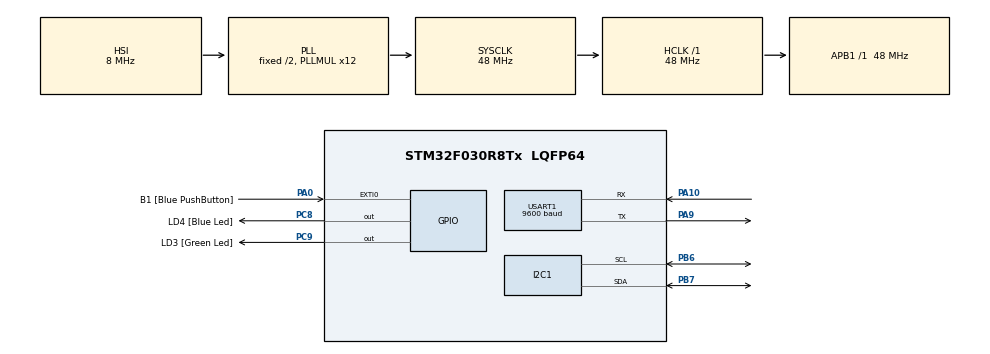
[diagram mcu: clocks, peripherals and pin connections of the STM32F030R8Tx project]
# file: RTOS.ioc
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FREERTOS.Tasks01=defaultTask,24,128,StartDefaultTask,Default,NULL,Dynamic,NULL,NULL
FREERTOS.configCHECK_FOR_STACK_OVERFLOW=1
FREERTOS.configTOTAL_HEAP_SIZE=1700
FREERTOS.configUSE_DAEMON_TASK_STARTUP_HOOK=1
FREERTOS.configUSE_IDLE_HOOK=1
FREERTOS.configUSE_MALLOC_FAILED_HOOK=0
FREERTOS.configUSE_TICK_HOOK=1
Mcu.Family=STM32F0
Mcu.Name=STM32F030R8Tx
Mcu.Package=LQFP64
NVIC.TIM6_IRQn=true\:0\:0\:false\:false\:true\:false\:false\:true
NVIC.TimeBase=TIM6_IRQn
NVIC.TimeBaseIP=TIM6
PA0.GPIO_Label=B1 [Blue PushButton]
PA0.GPIO_ModeDefaultEXTI=GPIO_MODE_EVT_RISING
PA0.Signal=GPXTI0
PA10.Mode=Asynchronous
PA10.Signal=USART1_RX
PA13.GPIO_Label=SWDIO
PA13.Mode=Serial_Wire
PA13.Signal=SYS_SWDIO
PA14.GPIO_Label=SWCLK
PA14.Mode=Serial_Wire
PA14.Signal=SYS_SWCLK
PA9.Mode=Asynchronous
PA9.Signal=USART1_TX
PB6.Mode=I2C
PB6.Signal=I2C1_SCL
PB7.Mode=I2C
PB7.Signal=I2C1_SDA
PC8.GPIO_Label=LD4 [Blue Led]
PC8.Signal=GPIO_Output
PC9.GPIO_Label=LD3 [Green Led]
PC9.Signal=GPIO_Output
ProjectManager.HeapSize=0x200
ProjectManager.StackSize=0x400
ProjectManager.TargetToolchain=Makefile
RCC.AHBFreq_Value=48000000
RCC.APB1Freq_Value=48000000
RCC.APB1TimFreq_Value=48000000
RCC.HCLKFreq_Value=48000000
RCC.PLLMUL=RCC_PLL_MUL12
RCC.SYSCLKFreq_VALUE=48000000
RCC.SYSCLKSource=RCC_SYSCLKSOURCE_PLLCLK
USART1.BaudRate=9600
USART1.VirtualMode-Asynchronous=VM_ASYNC
VP_FREERTOS_VS_CMSIS_V2.Mode=CMSIS_V2
VP_SYS_VS_tim6.Mode=TIM6
board=STM32F0308-DISCO

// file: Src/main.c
/* USER CODE BEGIN Header */
/**
  ******************************************************************************
  * @file           : main.c
  * @brief          : Main program body
  ******************************************************************************
  * @attention
  *
  * <h2><center>&copy; Copyright (c) 2019 STMicroelectronics.
  * All rights reserved.</center></h2>
  *
  * This software component is licensed by ST under Ultimate Liberty license
  * SLA0044, the "License"; You may not use this file except in compliance with
  * the License. You may obtain a copy of the License at:
  *                             www.st.com/SLA0044
  *
  ******************************************************************************
  */
/* USER CODE END Header */

#include "main.h"
#include "cmsis_os.h"

/* USER CODE BEGIN Includes */
#include "u8g2.h"
/* USER CODE END Includes */

I2C_HandleTypeDef hi2c1;

UART_HandleTypeDef huart1;

osThreadId_t defaultTaskHandle;
/* USER CODE BEGIN PV */
osThreadId_t displayTaskHandle;
u8g2_t u8g2;
/* USER CODE END PV */

void SystemClock_Config(void);
static void MX_GPIO_Init(void);
static void MX_I2C1_Init(void);
static void MX_USART1_UART_Init(void);
void StartDefaultTask(void *argument);

/* USER CODE BEGIN PFP */
void StartDisplayTask(void *argument);
/* external functions */
uint8_t u8x8_byte_stm32hal_hw_i2c(u8x8_t *u8x8, uint8_t msg, uint8_t arg_int, void *arg_ptr);
uint8_t psoc_gpio_and_delay_cb(u8x8_t *u8x8, uint8_t msg, uint8_t arg_int, void *arg_ptr);

/* USER CODE END PFP */

/* USER CODE BEGIN 0 */
// void HAL_Delay(uint32_t Delay){
//   //osDelay(Delay);
// }

void initDisplay(void)
{
  //uint8_t i = 0, j = 0, k = 0;

  /* setup display */
  u8g2_Setup_ssd1306_i2c_128x64_noname_f(&u8g2, U8G2_R0, u8x8_byte_stm32hal_hw_i2c, psoc_gpio_and_delay_cb);
  u8g2_InitDisplay(&u8g2);
  u8g2_SetPowerSave(&u8g2, 0);
  // u8g2_SetFont(&u8g2, u8g2_font_6x12_tf);
  // u8g2_ClearBuffer(&u8g2);
  // u8g2_DrawStr(&u8g2, 0,12, "STM32L031");
  // u8g2_DrawStr(&u8g2, 0,24, u8x8_u8toa(SystemCoreClock/1000000, 2));
  // u8g2_DrawStr(&u8g2, 20,24, "MHz");
  // u8g2_SendBuffer(&u8g2);
  // while(1)
  // {
  //   if(k%2)
  //     if(i<117)
  //       i++;
  //     else
  //       k++;
  //   else
  //     if(i>10)
  //       i--;
  //     else
  //       k--;

  //     // if(!(i%4))
  //     // {
  //     //   j += 1;
  //     // }
  //     //u8g2_ClearBuffer(&u8g2);
  //     u8g2_FirstPage(&u8g2);
  //     do
  //     {
  //       //u8g2_SetFont(&u8g2, u8g2_font_6x12_tf);
  //         //u8g2_SetFont(&u8g2, u8g2_font_ncenB14_tr);
  //       //u8g2_DrawStr(&u8g2, 0, 15, "Hello World!");
  //       u8g2_DrawCircle(&u8g2, i, 32, 10+j, U8G2_DRAW_ALL);
  //     } while (u8g2_NextPage(&u8g2));

  //   //i = 0; j = 0;
  // }
}
/* USER CODE END 0 */

int main(void)
{

  /* MCU Configuration--------------------------------------------------------*/

  /* Reset of all peripherals, Initializes the Flash interface and the Systick. */
  HAL_Init();

  /* Configure the system clock */
  SystemClock_Config();

  /* Initialize all configured peripherals */
  MX_GPIO_Init();
  MX_I2C1_Init();
  MX_USART1_UART_Init();
  /* USER CODE BEGIN 2 */
  initDisplay();

  /* USER CODE END 2 */

  osKernelInitialize();

  /* Create the thread(s) */
  /* definition and creation of defaultTask */
  const osThreadAttr_t defaultTask_attributes = {
    .name = "defaultTask",
    .priority = (osPriority_t) osPriorityNormal,
    .stack_size = 128
  };
  defaultTaskHandle = osThreadNew(StartDefaultTask, NULL, &defaultTask_attributes);

  /* USER CODE BEGIN RTOS_THREADS */
  const osThreadAttr_t displayTask_attributes = {
    .name = "displayTask",
    .priority = (osPriority_t) osPriorityNormal,
    .stack_size = 512
  };
  displayTaskHandle = osThreadNew(StartDisplayTask, NULL, &displayTask_attributes);

  /* add threads, ... */
  /* USER CODE END RTOS_THREADS */

  /* Start scheduler */
  osKernelStart();

  /* We should never get here as control is now taken by the scheduler */

  /* Infinite loop */
  while (1)
  {

  }
}

void SystemClock_Config(void)
{
  RCC_OscInitTypeDef RCC_OscInitStruct = {0};
  RCC_ClkInitTypeDef RCC_ClkInitStruct = {0};
  RCC_PeriphCLKInitTypeDef PeriphClkInit = {0};

  /** Initializes the CPU, AHB and APB busses clocks
  */
  RCC_OscInitStruct.OscillatorType = RCC_OSCILLATORTYPE_HSI;
  RCC_OscInitStruct.HSIState = RCC_HSI_ON;
  RCC_OscInitStruct.HSICalibrationValue = RCC_HSICALIBRATION_DEFAULT;
  RCC_OscInitStruct.PLL.PLLState = RCC_PLL_ON;
  RCC_OscInitStruct.PLL.PLLSource = RCC_PLLSOURCE_HSI;
  RCC_OscInitStruct.PLL.PLLMUL = RCC_PLL_MUL12;
  RCC_OscInitStruct.PLL.PREDIV = RCC_PREDIV_DIV1;
  if (HAL_RCC_OscConfig(&RCC_OscInitStruct) != HAL_OK)
  {
    Error_Handler();
  }
  /** Initializes the CPU, AHB and APB busses clocks
  */
  RCC_ClkInitStruct.ClockType = RCC_CLOCKTYPE_HCLK|RCC_CLOCKTYPE_SYSCLK
                              |RCC_CLOCKTYPE_PCLK1;
  RCC_ClkInitStruct.SYSCLKSource = RCC_SYSCLKSOURCE_PLLCLK;
  RCC_ClkInitStruct.AHBCLKDivider = RCC_SYSCLK_DIV1;
  RCC_ClkInitStruct.APB1CLKDivider = RCC_HCLK_DIV1;

  if (HAL_RCC_ClockConfig(&RCC_ClkInitStruct, FLASH_LATENCY_1) != HAL_OK)
  {
    Error_Handler();
  }
  PeriphClkInit.PeriphClockSelection = RCC_PERIPHCLK_USART1|RCC_PERIPHCLK_I2C1;
  PeriphClkInit.Usart1ClockSelection = RCC_USART1CLKSOURCE_PCLK1;
  PeriphClkInit.I2c1ClockSelection = RCC_I2C1CLKSOURCE_HSI;
  if (HAL_RCCEx_PeriphCLKConfig(&PeriphClkInit) != HAL_OK)
  {
    Error_Handler();
  }
}

static void MX_I2C1_Init(void)
{

  hi2c1.Instance = I2C1;
  hi2c1.Init.Timing = 0x2000090E;
  hi2c1.Init.OwnAddress1 = 0;
  hi2c1.Init.AddressingMode = I2C_ADDRESSINGMODE_7BIT;
  hi2c1.Init.DualAddressMode = I2C_DUALADDRESS_DISABLE;
  hi2c1.Init.OwnAddress2 = 0;
  hi2c1.Init.OwnAddress2Masks = I2C_OA2_NOMASK;
  hi2c1.Init.GeneralCallMode = I2C_GENERALCALL_DISABLE;
  hi2c1.Init.NoStretchMode = I2C_NOSTRETCH_DISABLE;
  if (HAL_I2C_Init(&hi2c1) != HAL_OK)
  {
    Error_Handler();
  }
  /** Configure Analogue filter
  */
  if (HAL_I2CEx_ConfigAnalogFilter(&hi2c1, I2C_ANALOGFILTER_ENABLE) != HAL_OK)
  {
    Error_Handler();
  }
  /** Configure Digital filter
  */
  if (HAL_I2CEx_ConfigDigitalFilter(&hi2c1, 0) != HAL_OK)
  {
    Error_Handler();
  }

}

static void MX_USART1_UART_Init(void)
{

  huart1.Instance = USART1;
  huart1.Init.BaudRate = 9600;
  huart1.Init.WordLength = UART_WORDLENGTH_8B;
  huart1.Init.StopBits = UART_STOPBITS_1;
  huart1.Init.Parity = UART_PARITY_NONE;
  huart1.Init.Mode = UART_MODE_TX_RX;
  huart1.Init.HwFlowCtl = UART_HWCONTROL_NONE;
  huart1.Init.OverSampling = UART_OVERSAMPLING_16;
  huart1.Init.OneBitSampling = UART_ONE_BIT_SAMPLE_DISABLE;
  huart1.AdvancedInit.AdvFeatureInit = UART_ADVFEATURE_NO_INIT;
  if (HAL_UART_Init(&huart1) != HAL_OK)
  {
    Error_Handler();
  }

}

static void MX_GPIO_Init(void)
{
  GPIO_InitTypeDef GPIO_InitStruct = {0};

  /* GPIO Ports Clock Enable */
  __HAL_RCC_GPIOA_CLK_ENABLE();
  __HAL_RCC_GPIOC_CLK_ENABLE();
  __HAL_RCC_GPIOB_CLK_ENABLE();

  /*Configure GPIO pin Output Level */
  HAL_GPIO_WritePin(GPIOC, LD4_Pin|LD3_Pin, GPIO_PIN_RESET);

  /*Configure GPIO pin : B1_Pin */
  GPIO_InitStruct.Pin = B1_Pin;
  GPIO_InitStruct.Mode = GPIO_MODE_EVT_RISING;
  GPIO_InitStruct.Pull = GPIO_NOPULL;
  HAL_GPIO_Init(B1_GPIO_Port, &GPIO_InitStruct);

  /*Configure GPIO pins : LD4_Pin LD3_Pin */
  GPIO_InitStruct.Pin = LD4_Pin|LD3_Pin;
  GPIO_InitStruct.Mode = GPIO_MODE_OUTPUT_PP;
  GPIO_InitStruct.Pull = GPIO_NOPULL;
  GPIO_InitStruct.Speed = GPIO_SPEED_FREQ_LOW;
  HAL_GPIO_Init(GPIOC, &GPIO_InitStruct);

}

/* USER CODE BEGIN 4 */
void StartDisplayTask(void *argument)
{
  uint8_t i = 0, j = 0, k = 0;

  /* Infinite loop */
  for(;;)
  {
    HAL_GPIO_TogglePin(GPIOC, LD4_Pin);
    //osDelay(100);

    if(k%2)
      if(i<117)
        i+=2;
      else
        k++;
    else
      if(i>10)
        i-=2;
      else
        k--;

    //u8g2_ClearBuffer(&u8g2);
    u8g2_FirstPage(&u8g2);
    do
    {
      //u8g2_SetFont(&u8g2, u8g2_font_6x12_tf);
      u8g2_SetFont(&u8g2, u8g2_font_ncenB14_tr);
      u8g2_DrawStr(&u8g2, 0, 15, "Hello World!");
      u8g2_DrawCircle(&u8g2, i, 32, 10+j, U8G2_DRAW_ALL);
    } while (u8g2_NextPage(&u8g2));
  }
}
/* USER CODE END 4 */

void StartDefaultTask(void *argument)
{
  /* USER CODE BEGIN 5 */
  /* Infinite loop */
  for(;;)
  {
     HAL_GPIO_TogglePin(GPIOC, LD3_Pin);
     osDelay(1000);
  }
  /* USER CODE END 5 */
}

void HAL_TIM_PeriodElapsedCallback(TIM_HandleTypeDef *htim)
{
  if (htim->Instance == TIM6) {
    HAL_IncTick();
  }
}

void Error_Handler(void)
{
}

/************************ (C) COPYRIGHT STMicroelectronics *****END OF FILE****/

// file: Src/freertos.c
/* USER CODE BEGIN Header */
/**
  ******************************************************************************
  * File Name          : freertos.c
  * Description        : Code for freertos applications
  ******************************************************************************
  * @attention
  *
  * <h2><center>&copy; Copyright (c) 2019 STMicroelectronics.
  * All rights reserved.</center></h2>
  *
  * This software component is licensed by ST under Ultimate Liberty license
  * SLA0044, the "License"; You may not use this file except in compliance with
  * the License. You may obtain a copy of the License at:
  *                             www.st.com/SLA0044
  *
  ******************************************************************************
  */
/* USER CODE END Header */

#include "FreeRTOS.h"
#include "task.h"
#include "main.h"

/* Hook prototypes */
void vApplicationIdleHook(void);
void vApplicationTickHook(void);
void vApplicationStackOverflowHook(xTaskHandle xTask, signed char *pcTaskName);
void vApplicationDaemonTaskStartupHook(void);

/* USER CODE BEGIN 2 */
__weak void vApplicationIdleHook( void )
{
   /* vApplicationIdleHook() will only be called if configUSE_IDLE_HOOK is set
   to 1 in FreeRTOSConfig.h. It will be called on each iteration of the idle
   task. It is essential that code added to this hook function never attempts
   to block in any way (for example, call xQueueReceive() with a block time
   specified, or call vTaskDelay()). If the application makes use of the
   vTaskDelete() API function (as this demo application does) then it is also
   important that vApplicationIdleHook() is permitted to return to its calling
   function, because it is the responsibility of the idle task to clean up
   memory allocated by the kernel to any task that has since been deleted. */
}
/* USER CODE END 2 */

/* USER CODE BEGIN 3 */
__weak void vApplicationTickHook( void )
{
   /* This function will be called by each tick interrupt if
   configUSE_TICK_HOOK is set to 1 in FreeRTOSConfig.h. User code can be
   added here, but the tick hook is called from an interrupt context, so
   code must not attempt to block, and only the interrupt safe FreeRTOS API
   functions can be used (those that end in FromISR()). */
}
/* USER CODE END 3 */

/* USER CODE BEGIN 4 */
__weak void vApplicationStackOverflowHook(xTaskHandle xTask, signed char *pcTaskName)
{
   /* Run time stack overflow checking is performed if
   configCHECK_FOR_STACK_OVERFLOW is defined to 1 or 2. This hook function is
   called if a stack overflow is detected. */
   while(1);
}
/* USER CODE END 4 */

/* USER CODE BEGIN DAEMON_TASK_STARTUP_HOOK */
void vApplicationDaemonTaskStartupHook(void)
{
}
/* USER CODE END DAEMON_TASK_STARTUP_HOOK */

/************************ (C) COPYRIGHT STMicroelectronics *****END OF FILE****/
